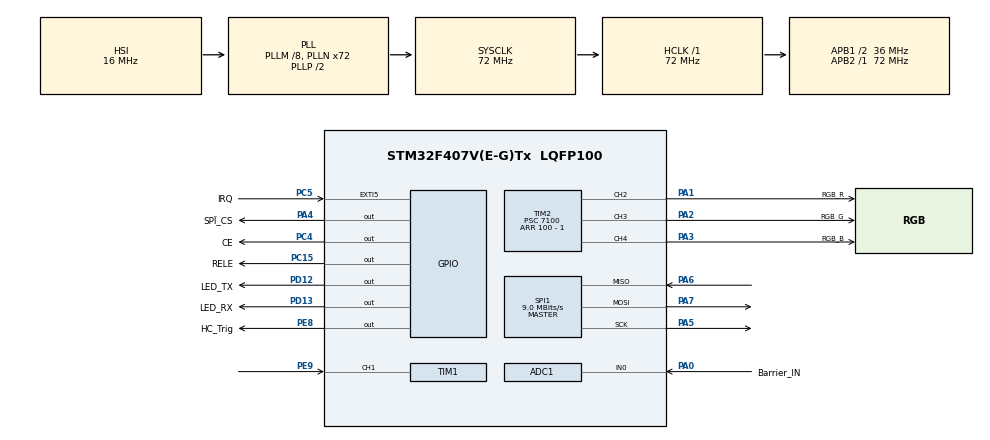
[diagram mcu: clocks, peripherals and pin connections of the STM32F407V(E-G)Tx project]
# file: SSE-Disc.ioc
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ADC1.Channel-0\#ChannelRegularConversion=ADC_CHANNEL_0
ADC1.NbrOfConversionFlag=1
ADC1.Rank-0\#ChannelRegularConversion=1
ADC1.SamplingTime-0\#ChannelRegularConversion=ADC_SAMPLETIME_3CYCLES
ADC1.master=1
Mcu.Family=STM32F4
Mcu.Name=STM32F407V(E-G)Tx
Mcu.Package=LQFP100
NVIC.ADC_IRQn=true\:0\:1\:false\:false\:true\:true\:true\:true
NVIC.EXTI9_5_IRQn=true\:0\:0\:false\:false\:true\:true\:true\:true
NVIC.PriorityGroup=NVIC_PRIORITYGROUP_0
NVIC.TIM1_CC_IRQn=true\:0\:0\:false\:false\:true\:true\:true\:true
NVIC.TIM2_IRQn=true\:0\:0\:false\:false\:true\:true\:true\:true
NVIC.TIM3_IRQn=true\:0\:0\:false\:false\:true\:true\:true\:true
NVIC.TIM4_IRQn=true\:0\:0\:false\:false\:true\:true\:true\:true
PA0-WKUP.GPIO_Label=Barrier_IN
PA0-WKUP.Signal=ADCx_IN0
PA1.GPIO_Label=RGB_R
PA1.Signal=S_TIM2_CH2
PA13.Mode=Serial_Wire
PA13.Signal=SYS_JTMS-SWDIO
PA14.Mode=Serial_Wire
PA14.Signal=SYS_JTCK-SWCLK
PA2.GPIO_Label=RGB_G
PA2.Signal=S_TIM2_CH3
PA3.GPIO_Label=RGB_B
PA3.Signal=S_TIM2_CH4
PA4.GPIO_Label=SP\u00CF_CS
PA4.GPIO_Speed=GPIO_SPEED_FREQ_HIGH
PA4.Signal=GPIO_Output
PA5.Mode=Full_Duplex_Master
PA5.Signal=SPI1_SCK
PA6.Mode=Full_Duplex_Master
PA6.Signal=SPI1_MISO
PA7.Mode=Full_Duplex_Master
PA7.Signal=SPI1_MOSI
PC15-OSC32_OUT.GPIO_Label=RELE
PC15-OSC32_OUT.GPIO_PuPd=GPIO_PULLUP
PC15-OSC32_OUT.Signal=GPIO_Output
PC4.GPIO_Label=CE
PC4.GPIO_Speed=GPIO_SPEED_FREQ_HIGH
PC4.PinState=GPIO_PIN_SET
PC4.Signal=GPIO_Output
PC5.GPIO_Label=IRQ
PC5.GPIO_ModeDefaultEXTI=GPIO_MODE_IT_FALLING
PC5.Signal=GPXTI5
PD12.GPIO_Label=LED_TX
PD12.GPIO_Speed=GPIO_SPEED_FREQ_VERY_HIGH
PD12.Signal=GPIO_Output
PD13.GPIO_Label=LED_RX
PD13.GPIO_Speed=GPIO_SPEED_FREQ_VERY_HIGH
PD13.Signal=GPIO_Output
PE8.GPIO_Label=HC_Trig
PE8.Signal=GPIO_Output
PE9.GPIO_ModeDefaultPP=GPIO_MODE_AF_PP
PE9.GPIO_PuPd=GPIO_NOPULL
PE9.GPIO_Speed=GPIO_SPEED_FREQ_LOW
PE9.Signal=S_TIM1_CH1
ProjectManager.HeapSize=0x200
ProjectManager.StackSize=0x400
ProjectManager.TargetToolchain=STM32CubeIDE
RCC.48MHZClocksFreq_Value=20571428.57142857
RCC.AHBFreq_Value=72000000
RCC.APB1CLKDivider=RCC_HCLK_DIV2
RCC.APB1Freq_Value=36000000
RCC.APB1TimFreq_Value=72000000
RCC.APB2Freq_Value=72000000
RCC.APB2TimFreq_Value=72000000
RCC.CortexFreq_Value=72000000
RCC.HCLKFreq_Value=72000000
RCC.HSE_VALUE=8000000
RCC.HSI_VALUE=16000000
RCC.LSE_VALUE=32768
RCC.PLLM=8
RCC.PLLN=72
RCC.PLLQ=7
RCC.SYSCLKFreq_VALUE=72000000
RCC.SYSCLKSource=RCC_SYSCLKSOURCE_PLLCLK
RCC.VCOOutputFreq_Value=144000000
SH.ADCx_IN0.0=ADC1_IN0,IN0
SH.S_TIM1_CH1.0=TIM1_CH1,Input_Capture1_from_TI1
SH.S_TIM2_CH2.0=TIM2_CH2,PWM Generation2 CH2
SH.S_TIM2_CH3.0=TIM2_CH3,PWM Generation3 CH3
SH.S_TIM2_CH4.0=TIM2_CH4,PWM Generation4 CH4
SPI1.BaudRatePrescaler=SPI_BAUDRATEPRESCALER_8
SPI1.CalculateBaudRate=9.0 MBits/s
SPI1.Direction=SPI_DIRECTION_2LINES
SPI1.Mode=SPI_MODE_MASTER
SPI1.VirtualType=VM_MASTER
TIM1.Channel-Input_Capture1_from_TI1=TIM_CHANNEL_1
TIM1.Prescaler=72-1
TIM2.Channel-PWM\ Generation2\ CH2=TIM_CHANNEL_2
TIM2.Channel-PWM\ Generation3\ CH3=TIM_CHANNEL_3
TIM2.Channel-PWM\ Generation4\ CH4=TIM_CHANNEL_4
TIM2.Period=100 - 1
TIM2.Prescaler=7100
TIM2.Pulse-PWM\ Generation2\ CH2=0
TIM2.Pulse-PWM\ Generation3\ CH3=0
TIM2.Pulse-PWM\ Generation4\ CH4=0
TIM3.Period=65535
TIM3.Prescaler=72
TIM4.Period=1097
TIM4.Prescaler=65535
VP_TIM2_VS_ClockSourceINT.Mode=Internal
VP_TIM3_VS_ClockSourceINT.Mode=Internal
VP_TIM4_VS_ClockSourceINT.Mode=Internal
board=STM32F407G-DISC1

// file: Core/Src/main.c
/* USER CODE BEGIN Header */
/**
  ******************************************************************************
  * @file           : main.c
  * @brief          : Main program body
  ******************************************************************************
  * @attention
  *
  * Copyright (c) 2024 STMicroelectronics.
  * All rights reserved.
  *
  * This software is licensed under terms that can be found in the LICENSE file
  * in the root directory of this software component.
  * If no LICENSE file comes with this software, it is provided AS-IS.
  *
  ******************************************************************************
  */
/* USER CODE END Header */
#include "main.h"
#include "adc.h"
#include "spi.h"
#include "tim.h"
#include "gpio.h"

/* USER CODE BEGIN Includes */
#include "defines.h"
/* USER CODE END Includes */

/* USER CODE BEGIN PV */

uint8_t sNum[5];
uint8_t motion[5];
int16_t button = 0;
double voltage;
uint32_t adc_value;
volatile uint8_t valid = 0;
volatile unsigned long handledInterrupts = 0;
volatile unsigned long toHandleInterrupts = 0;

extern APP_DATA_Struct app_data;

float duty_cycle = 0.0;
/* USER CODE END PV */

void SystemClock_Config(void);
/* USER CODE BEGIN PFP */

void received_message();
/* USER CODE END PFP */

int main(void)
{

  /* MCU Configuration--------------------------------------------------------*/

  /* Reset of all peripherals, Initializes the Flash interface and the Systick. */
  HAL_Init();

  /* Configure the system clock */
  SystemClock_Config();

  /* Initialize all configured peripherals */
  MX_GPIO_Init();
  MX_SPI1_Init();
  MX_ADC1_Init();
  MX_TIM1_Init();
  MX_TIM2_Init();
  MX_TIM3_Init();
  MX_TIM4_Init();
  /* USER CODE BEGIN 2 */

  HAL_TIM_IC_Start_IT(&htim1, TIM_CHANNEL_1);
  HAL_TIM_PWM_Start_IT(&htim2, TIM_CHANNEL_2);
  HAL_TIM_PWM_Start_IT(&htim2, TIM_CHANNEL_3);
  HAL_TIM_PWM_Start_IT(&htim2, TIM_CHANNEL_4);

  BSP_RF_Params_TypeDef rf_params = {0};
  rf_params.channel = NRF24L01P_CHANNEL;
  rf_params.rate = NRF24L01P_RATE;
  rf_params.retransmit_count = NRF24L01P_RETRANSMIT_COUNT;
  BSP_RF_Init(&rf_params);
  BSP_RF_Listening();
  BSP_RELAY_OFF();
  BSP_STOP_PRESENCE_COUNTER();
  /* USER CODE END 2 */

  /* Infinite loop */
  /* USER CODE BEGIN WHILE */
  while (1)
  {
	  app();

    /* USER CODE END WHILE */

  }
}

void SystemClock_Config(void)
{
  RCC_OscInitTypeDef RCC_OscInitStruct = {0};
  RCC_ClkInitTypeDef RCC_ClkInitStruct = {0};

  /** Configure the main internal regulator output voltage
  */
  __HAL_RCC_PWR_CLK_ENABLE();
  __HAL_PWR_VOLTAGESCALING_CONFIG(PWR_REGULATOR_VOLTAGE_SCALE1);

  /** Initializes the RCC Oscillators according to the specified parameters
  * in the RCC_OscInitTypeDef structure.
  */
  RCC_OscInitStruct.OscillatorType = RCC_OSCILLATORTYPE_HSI;
  RCC_OscInitStruct.HSIState = RCC_HSI_ON;
  RCC_OscInitStruct.HSICalibrationValue = RCC_HSICALIBRATION_DEFAULT;
  RCC_OscInitStruct.PLL.PLLState = RCC_PLL_ON;
  RCC_OscInitStruct.PLL.PLLSource = RCC_PLLSOURCE_HSI;
  RCC_OscInitStruct.PLL.PLLM = 8;
  RCC_OscInitStruct.PLL.PLLN = 72;
  RCC_OscInitStruct.PLL.PLLP = RCC_PLLP_DIV2;
  RCC_OscInitStruct.PLL.PLLQ = 7;
  if (HAL_RCC_OscConfig(&RCC_OscInitStruct) != HAL_OK)
  {
    Error_Handler();
  }

  /** Initializes the CPU, AHB and APB buses clocks
  */
  RCC_ClkInitStruct.ClockType = RCC_CLOCKTYPE_HCLK|RCC_CLOCKTYPE_SYSCLK
                              |RCC_CLOCKTYPE_PCLK1|RCC_CLOCKTYPE_PCLK2;
  RCC_ClkInitStruct.SYSCLKSource = RCC_SYSCLKSOURCE_PLLCLK;
  RCC_ClkInitStruct.AHBCLKDivider = RCC_SYSCLK_DIV1;
  RCC_ClkInitStruct.APB1CLKDivider = RCC_HCLK_DIV2;
  RCC_ClkInitStruct.APB2CLKDivider = RCC_HCLK_DIV1;

  if (HAL_RCC_ClockConfig(&RCC_ClkInitStruct, FLASH_LATENCY_2) != HAL_OK)
  {
    Error_Handler();
  }
}

/* USER CODE BEGIN 4 */

inline void received_message()
{
	if(!BSP_RF_IrqHandler())
		return;
	HAL_GPIO_TogglePin(GPIOD, LED_RX_Pin);
	APP_SETFLAG(MESSAGE_RECEIVED, True);
	HAL_GPIO_TogglePin(GPIOD, LED_RX_Pin);
}

void HAL_GPIO_EXTI_Callback(uint16_t GPIO_Pin)
{
	if(GPIO_Pin == NRF24L01P_IRQ_PIN_NUMBER)
	{
		received_message();
	}

}

#define min(x,y) (((x) <= (y)) ? (x) : (y))
#define max(x,y) (((x) >= (y)) ? (x) : (y))
void HAL_TIM_PWM_PulseFinishedCallback(TIM_HandleTypeDef *htim){
	uint8_t distance = HAL_HCSR04_GetDistance();
	duty_cycle =  ((float) max(min(distance, 100), 20) / 100);
	uint32_t pulse_width = 100 * duty_cycle;
	if(htim == &htim2){
		TIM2->CCR2 = pulse_width;
		TIM2->CCR3 = pulse_width;
		TIM2->CCR4 = pulse_width;
	}

}

void HAL_TIM_PeriodElapsedCallback(TIM_HandleTypeDef *htim){

	if(htim == &htim3){
		HAL_HCSR04_Trigger();
	}

	if(htim == &htim4){
		static uint16_t counter = 0;
		if(counter < SEND_DATA_PERIOD){
			if(BSP_HCSR04_GetPresence(PRESENCE_CUTOFF) == NoPresence){
				// Count up time not present
				SET_FIELD(&app_data, noPresenceSeconds, app_data.noPresenceSeconds + 1);
			}else if(BSP_HCSR04_GetPresence(PRESENCE_CUTOFF) == Presence){
				// Counter of time to
				SET_FIELD(&app_data, noPresenceSeconds, 0);
 			}

			counter++;
			return;
		}

		static uint8_t message[NRF24L01P_PAYLOAD_LENGTH] = {0,};
		message[0] = WORK_STATION;
		message[1] = (uint8_t) (app_data.noPresenceSeconds >> 8) & 0xFF;  // High byte
		message[2] = (uint8_t) (app_data.noPresenceSeconds & 0xFF);         // Low byte

		APP_SET_MESSAGE_TO_SEND(message);
		APP_SETFLAG(MESSAGE_TO_SEND, True);
		counter = 0;
	}

}

/* USER CODE END 4 */

void Error_Handler(void)
{
  __disable_irq();
  while (1)
  {
  }
}
